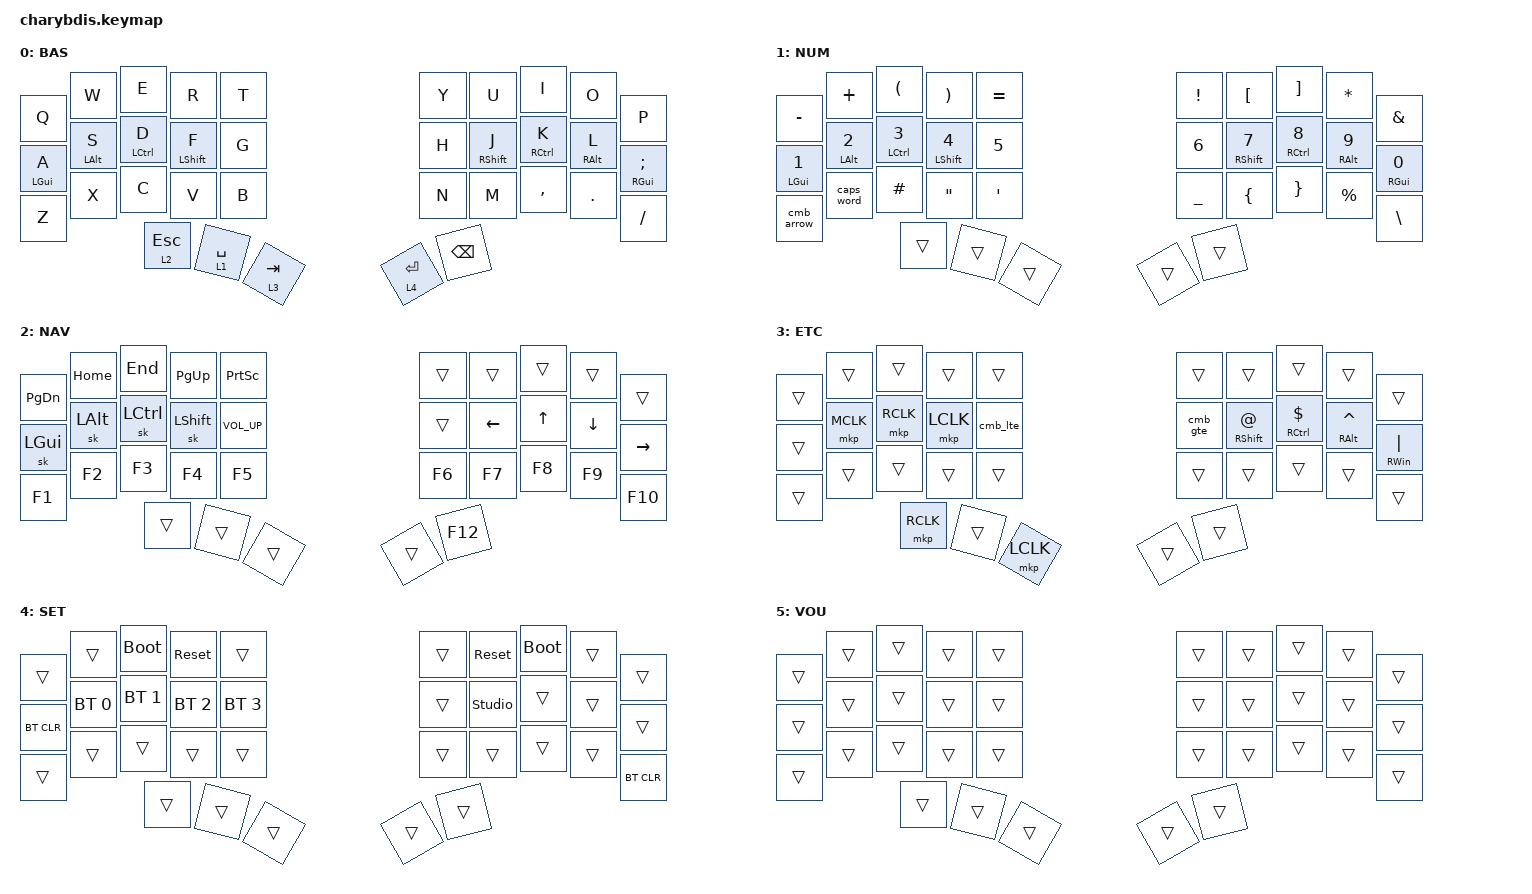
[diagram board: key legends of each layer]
#include <dt-bindings/zmk/mouse.h>
#include <behaviors/mouse_keys.dtsi>
#include <behaviors.dtsi>
#include <dt-bindings/zmk/bt.h>
#include <dt-bindings/zmk/keys.h>
#include <dt-bindings/zmk/pointing.h>

&lt {
    tapping-term-ms = <150>;
    quick-tap-ms = <100>;
    require-prior-idle-ms = <75>;
    flavor = "balanced";
};

/ {
    /* input config for mouse move mode */

    trackball_listener {
        compatible = "zmk,input-behavior-listener";
        device = <&vtrackball>;
        layers = <0 5>;
        evt-type = <INPUT_EV_REL>;
        x-input-code = <INPUT_REL_X>;
        y-input-code = <INPUT_REL_Y>;
        scale-multiplier = <1>;
        scale-divisor = <6>;

        // bindings = <&ib_toggle_layer 4>;
    };

    /* precision cursor mode for the ETC layer */

    trackball_snipe_listener {
        compatible = "zmk,input-behavior-listener";
        device = <&vtrackball>;
        layers = <3>;
        evt-type = <INPUT_EV_REL>;
        x-input-code = <INPUT_REL_X>;
        y-input-code = <INPUT_REL_Y>;
        scale-multiplier = <1>;
        scale-divisor = <6>;
    };

    /* input config for mouse scroll mode */

    trackball_scroll_listener {
        compatible = "zmk,input-behavior-listener";
        device = <&vtrackball>;
        layers = <1>;
        evt-type = <INPUT_EV_REL>;
        x-input-code = <INPUT_REL_HWHEEL>;
        y-input-code = <INPUT_REL_WHEEL>;
        bindings = <&ib_scroll_axis_lock>;
    };

    trackball_arrow_listener {
        compatible = "zmk,input-behavior-listener";
        device = <&vtrackball>;
        layers = <2>; // Працює тільки на шарі 2
        evt-type = <INPUT_EV_REL>;
        x-input-code = <INPUT_REL_X>;
        y-input-code = <INPUT_REL_Y>;
        scale-multiplier = <1>;
        scale-divisor = <1>;
        bindings = <&ib_arrow_nav>; // Використовуємо наш новий behavior
    };

    /* axis-locked scroll: accumulate raw counts, emit one tick on the
       dominant axis only (vertical priority), reset both accumulators */

    ib_scroll_axis_lock: ib_scroll_axis_lock {
        compatible = "zmk,input-behavior-scroll-axis-lock";
        #binding-cells = <0>;
        tick = <100>;
        lockout-ms = <250>;
    };

    /* adjust cooldown waiting period for mouse key layer after activated */

    ib_toggle_layer: ib_toggle_layer {
        compatible = "zmk,input-behavior-tog-layer";
        #binding-cells = <1>;
        time-to-live-ms = <500>;
    };

    ib_arrow_nav: ib_arrow_nav {
        compatible = "zmk,input-behavior-move-to-keypress";
        #binding-cells = <0>;
        threshold = <250>;
        x-threshold = < 200>;
        y-threshold = <300>;
        rate-limit-ms = <15>;
        reset-other-axis;
        bindings = <&kp RIGHT>, <&kp LEFT>, <&kp UP>, <&kp DOWN>;
    };

    // ╭──────┬──────┬──────┬──────┬──────╮  ╭──────┬──────┬──────┬──────┬──────╮
    //    00     01     02     03     04        05     06     07     08     09
    // ├──────┼──────┼──────┼──────┼──────┤  ├──────┼──────┼──────┼──────┼──────┤
    //    10     11     12     13     14        15     16     17     18     19
    // ├──────┼──────┼──────┼──────┼──────┤  ├──────┼──────┼──────┼──────┼──────┤
    //    20     21     22     23     24        25     26     27     28     29
    // ╰──────┴──────┼──────┼──────┴──────╯  ╰──────┴──────┴──────┴──────┴──────╯
    //                  30     31     32        33     34
    //               ╰──────┴──────┴──────╯  ╰──────┴──────╯

    #define BASE    0
    #define NUM     1
    #define NAV     2
    #define ETC     3
    #define SET     4
    #define VOU     5

    /* key-position groups for positional home-row mods (urob "timeless" style). */
    #define KEYS_L 0 1 2 3 4 10 11 12 13 14 20 21 22 23 24
    #define KEYS_R 5 6 7 8 9 15 16 17 18 19 25 26 27 28 29
    #define THUMBS 30 31 32 33 34

    behaviors {
        hml: home_row_mod_left {
            compatible = "zmk,behavior-hold-tap";
            label = "HOME_ROW_MOD_LEFT";
            bindings = <&kp>, <&kp>;

            #binding-cells = <2>;
            flavor = "balanced";
            tapping-term-ms = <280>;
            quick-tap-ms = <175>;
            require-prior-idle-ms = <150>;
            hold-trigger-key-positions = <KEYS_R THUMBS>;
            hold-trigger-on-release;
        };

        hmr: home_row_mod_right {
            compatible = "zmk,behavior-hold-tap";
            label = "HOME_ROW_MOD_RIGHT";
            bindings = <&kp>, <&kp>;

            #binding-cells = <2>;
            flavor = "balanced";
            tapping-term-ms = <280>;
            quick-tap-ms = <175>;
            require-prior-idle-ms = <150>;
            hold-trigger-key-positions = <KEYS_L THUMBS>;
            hold-trigger-on-release;
        };

        /* Shift kept on home row (F/J) but tuned separately: require-prior-idle
           removed so fast capitals don't force a tap ("two letters"), shorter
           term. Positional guard stays (same-hand fast typing won't misfire). */

        hsl: home_shift_left {
            compatible = "zmk,behavior-hold-tap";
            label = "HOME_SHIFT_LEFT";
            bindings = <&kp>, <&kp>;

            #binding-cells = <2>;
            flavor = "balanced";
            tapping-term-ms = <200>;
            quick-tap-ms = <175>;
            require-prior-idle-ms = <0>;
            hold-trigger-key-positions = <KEYS_R THUMBS>;
            hold-trigger-on-release;
        };

        hsr: home_shift_right {
            compatible = "zmk,behavior-hold-tap";
            label = "HOME_SHIFT_RIGHT";
            bindings = <&kp>, <&kp>;

            #binding-cells = <2>;
            flavor = "balanced";
            tapping-term-ms = <200>;
            quick-tap-ms = <175>;
            require-prior-idle-ms = <0>;
            hold-trigger-key-positions = <KEYS_L THUMBS>;
            hold-trigger-on-release;
        };

        bkspc_delete: bkspc_delete {
            compatible = "zmk,behavior-mod-morph";
            label = "BKSPC_DELETE";
            bindings = <&kp BACKSPACE>, <&kp DELETE>;

            #binding-cells = <0>;
            mods = <(MOD_LSFT|MOD_RCTL)>;
            keep-mods = <(MOD_RCTL)>;
        };

        // Крок 1: нічого -> ЛКМ, CTRL -> CTRL+ЛКМ
        // Крок 2: без ALT -> morph_ctrl, ALT -> ALT+ЛКМ  
        // Крок 3: без SHIFT -> morph_alt, SHIFT -> ПКМ
        // Крок 4: без WIN -> morph_shift, WIN -> ЦКМ
    };

    macros {
        cmb_lte: cmb_lte {
            compatible = "zmk,behavior-macro";
            #binding-cells = <0>;
            bindings = <&kp SPACE &kp LT &kp EQUAL &kp SPACE>;
        };

        cmb_gte: cmb_gte {
            compatible = "zmk,behavior-macro";
            #binding-cells = <0>;
            bindings = <&kp SPACE &kp GT &kp EQUAL &kp SPACE>;
        };

        cmb_arrow: cmb_arrow {
            compatible = "zmk,behavior-macro";
            #binding-cells = <0>;
            bindings = <&kp SPACE &kp MINUS &kp GT &kp SPACE>;
        };
    };

    combos {
        compatible = "zmk,combos";

        /* arrow/comparison combos. positions chosen for rare bigrams in BOTH
           uk and en: <= on X+C (чс), >= on , . (юб) — symmetric bottom row;
           -> on U+I (гш, never in uk). base layer only, short timeout. */
    };

    keymap {
        compatible = "zmk,keymap";

        BASE {
            display-name = "BAS";
            bindings = <
  &kp Q            &kp W            &kp E         &kp R              &kp T        &kp Y      &kp U               &kp I         &kp O             &kp P
  &hml LEFT_GUI A  &hml LEFT_ALT S  &hml LCTRL D  &hsl LEFT_SHIFT F  &kp G        &kp H      &hsr RIGHT_SHIFT J  &hmr RCTRL K  &hmr RIGHT_ALT L  &hmr RIGHT_GUI SEMI
  &kp Z            &kp X            &kp C         &kp V              &kp B        &kp N      &kp M               &kp COMMA     &kp DOT           &kp FSLH
                                    &lt 2 ESCAPE  &lt 1 SPACE        &lt 3 TAB    &lt 4 RET  &kp BACKSPACE
            >;
        };

        NUM {
            display-name = "NUM";
            bindings = <
  &kp MINUS               &kp PLUS                &kp LEFT_PARENTHESIS  &kp RIGHT_PARENTHESIS     &kp EQUAL    &kp EXCLAMATION  &kp LEFT_BRACKET     &kp RIGHT_BRACKET  &kp ASTERISK       &kp AMPERSAND
  &hml LEFT_GUI NUMBER_1  &hml LEFT_ALT NUMBER_2  &hml LCTRL NUMBER_3   &hsl LEFT_SHIFT NUMBER_4  &kp N5       &kp NUMBER_6     &hsr RIGHT_SHIFT N7  &hmr RCTRL N8      &hmr RIGHT_ALT N9  &hmr RIGHT_GUI N0
  &cmb_arrow              &caps_word              &kp HASH              &kp DOUBLE_QUOTES         &kp SQT      &kp UNDERSCORE   &kp LEFT_BRACE       &kp RIGHT_BRACE    &kp PERCENT        &kp BACKSLASH
                                                  &trans                &trans                    &trans       &trans           &trans
            >;
        };

        NAV {
            display-name = "NAV";
            bindings = <
  &kp PAGE_DOWN  &kp HOME      &kp END    &kp PG_UP       &kp PRINTSCREEN    &trans  &trans    &trans        &trans    &trans
  &sk LEFT_GUI   &sk LEFT_ALT  &sk LCTRL  &sk LEFT_SHIFT  &kp C_VOLUME_UP    &trans  &kp LEFT  &kp UP_ARROW  &kp DOWN  &kp RIGHT
  &kp F1         &kp F2        &kp F3     &kp F4          &kp F5             &kp F6  &kp F7    &kp F8        &kp F9    &kp F10
                               &trans     &trans          &trans             &trans  &kp F12
            >;
        };

        ETC {
            display-name = "ETC";
            bindings = <
  &trans  &trans     &trans     &trans     &trans       &trans    &trans                    &trans             &trans                &trans
  &trans  &mkp MCLK  &mkp RCLK  &mkp LCLK  &cmb_lte     &cmb_gte  &hsr RIGHT_SHIFT AT_SIGN  &hmr RCTRL DOLLAR  &hmr RIGHT_ALT CARET  &hmr RIGHT_WIN PIPE
  &trans  &trans     &trans     &trans     &trans       &trans    &trans                    &trans             &trans                &trans
                     &mkp RCLK  &trans     &mkp LCLK    &trans    &trans
            >;
        };

        SET {
            display-name = "SET";
            bindings = <
  &trans      &trans        &bootloader   &sys_reset    &trans          &trans  &sys_reset      &bootloader  &trans  &trans
  &bt BT_CLR  &bt BT_SEL 0  &bt BT_SEL 1  &bt BT_SEL 2  &bt BT_SEL 3    &trans  &studio_unlock  &trans       &trans  &trans
  &trans      &trans        &trans        &trans        &trans          &trans  &trans          &trans       &trans  &bt BT_CLR
                            &trans        &trans        &trans          &trans  &trans
            >;
        };

        VOU {
            bindings = <
  &trans  &trans  &trans  &trans  &trans    &trans  &trans  &trans  &trans  &trans
  &trans  &trans  &trans  &trans  &trans    &trans  &trans  &trans  &trans  &trans
  &trans  &trans  &trans  &trans  &trans    &trans  &trans  &trans  &trans  &trans
                  &trans  &trans  &trans    &trans  &trans
            >;

            label = "VOU";
        };
    };
};
